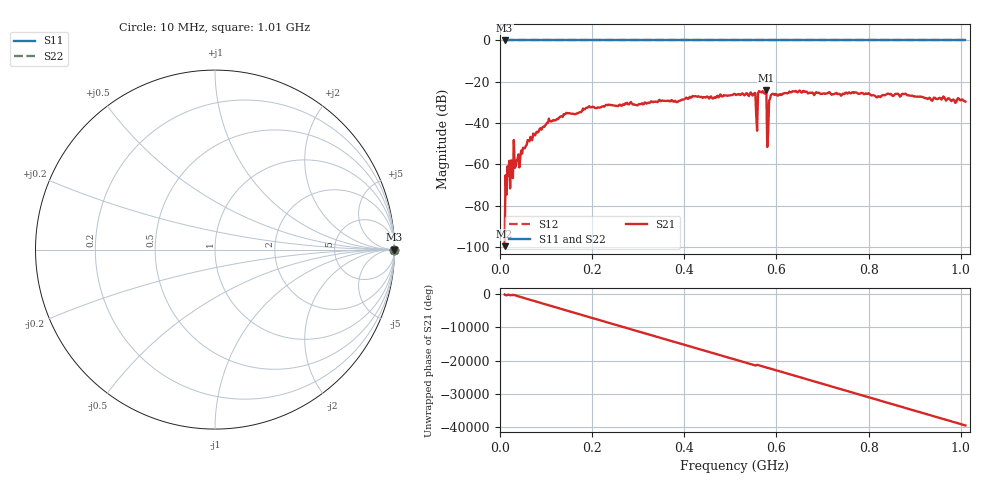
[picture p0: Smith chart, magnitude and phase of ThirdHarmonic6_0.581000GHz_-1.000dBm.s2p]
! 8/15/2025 6:46:48 PM
! C:\ANRITSUVNA\TEMP\TEMP.S2P
! CHANNEL.1
! TR.MEASUREMENT
! RAW.DATA
! RF.CORRECTION.OFF
! AVERAGING.OFF
! IF.BANDWIDTH: 5KHZ
! SWEEPTYPE:  FREQ.SWEEP(Linear)
! Reference Plane Port Info
! PORT:  PORT1  PORT2
! DISTANCE:  0  m  0  m
! TIME:  0  s  0  s
! PHASE.OFFSET:  0  deg.  0  deg.
! LOSS:  0  dB  0  dB
! REF.LOSS:  0  dB  0  dB
! REF.FREQ:  0  Hz  0  Hz
! Power Info
! POWER:  -20  dBm  -20  dBm
! EFF.POWER:  -20  dBm  -20  dBm
! SOURCE.ATTEN:  0  dB  0  dB
! TEST.ATTEN:  0  dB  0  dB
# GHZ S RI R 50.0
! FREQ.GHZ  S11RE  S11IM  S21RE  S21IM  S12RE  S12IM  S22RE  S22IM
!; PortSelection: Port_12
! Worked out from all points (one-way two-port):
!   501 points, 10 MHz to 1.01 GHz, reference 50 ohm
!   highest |S21| = -24.18 dB at 578 MHz (marker M1); lowest = -99.6 dB at 10 MHz (marker M2)
!   lowest |S11| = 0.0 dB at 10 MHz (marker M3)
!   |S11| at or under -10 dB: nowhere
!   |S22| runs from 0.0 to 0.0 dB; largest |S21 - S12| = 1.1
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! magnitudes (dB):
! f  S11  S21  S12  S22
! 10 MHz  0.0  -99.6  0.0  0.0
! 16 MHz  0.0  -61.0  0.0  0.0
! 18 MHz  0.0  -65.3  0.0  0.0
! 28 MHz  0.0  -66.7  0.0  0.0
! 38 MHz  0.0  -57.5  0.0  0.0
! 64 MHz  0.0  -48.9  0.0  0.0
! 106 MHz  0.0  -37.8  0.0  0.0
! 178 MHz  0.0  -34.2  0.0  0.0
! 344 MHz  0.0  -29.1  0.0  0.0
! 510 MHz  0.0  -25.9  0.0  0.0
! 550 MHz  0.0  -26.2  0.0  0.0
! 554 MHz  0.0  -25.4  0.0  0.0
! 560 MHz  0.0  -25.5  0.0  0.0
! 564 MHz  0.0  -24.7  0.0  0.0
! 574 MHz  0.0  -25.7  0.0  0.0
! 578 MHz  0.0  -24.2  0.0  0.0
! 584 MHz  0.0  -29.2  0.0  0.0
! 588 MHz  0.0  -26.4  0.0  0.0
! 592 MHz  0.0  -25.8  0.0  0.0
! 678 MHz  0.0  -25.2  0.0  0.0
! 844 MHz  0.0  -25.9  0.0  0.0
! 1.01 GHz  0.0  -29.6  0.0  0.0
